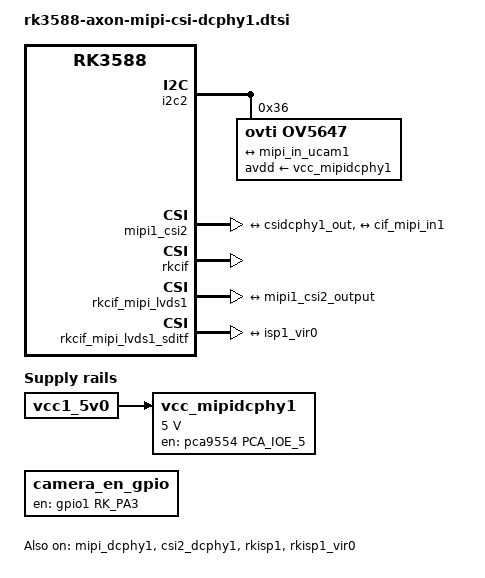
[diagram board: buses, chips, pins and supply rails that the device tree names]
// SPDX-License-Identifier: (GPL-2.0+ OR MIT)
/*
 * Copyright (C) 2023 Vicharak India
 */

/ {
	compatible = "vicharak,rk3588-axon", "rockchip,rk3588";

	vcc_mipidcphy1: vcc-mipi-dcphy1 {
		compatible = "regulator-fixed";
		regulator-name = "vcc_mipidcphy1";
		regulator-min-microvolt = <5000000>;
		regulator-max-microvolt = <5000000>;
		gpio = <&pca9554 PCA_IOE_5 GPIO_ACTIVE_HIGH>;
		regulator-always-on;
		regulator-boot-on;
		enable-active-high;
		vin-supply = <&vcc1_5v0>;
	};

	camera_en_gpio: camera-en-gpio {
		status = "okay";
		compatible = "regulator-fixed";
		regulator-name = "camera_en_gpio";
		regulator-always-on;
		regulator-boot-on;
		enable-active-high;
		gpio = <&gpio1 RK_PA3 GPIO_ACTIVE_HIGH>;
		pinctrl-names = "default";
		pinctrl-0 = <&cam_en_gpio>;
	};
};

&i2c2 {
	status = "okay";

	ov5647: ov5647@36 {
		status = "okay";
		compatible = "ovti,ov5647";
		reg = <0x36>;

		clocks = <&cru CLK_MIPI_CAMARAOUT_M1>;
		clock-names = "xvclk";
		pinctrl-names = "default";
		pinctrl-0 = <&mipim0_camera1_clk>;
		power-domains = <&power RK3588_PD_VI>;
		avdd-supply = <&vcc_mipidcphy1>;

		rockchip,camera-module-index = <1>;
		rockchip,camera-module-facing = "front";
		rockchip,camera-module-name = "ov5647";
		rockchip,camera-module-lens-name = "default";

		port {
			ov5647_out1: endpoint {
				remote-endpoint = <&mipi_in_ucam1>;
				data-lanes = <1 2>;
			};
		};
	};
};

// MIPI CSI: {{{
&mipi_dcphy1 {
	status = "okay";
};

&csi2_dcphy1 {
	status = "okay";

	ports {
		#address-cells = <1>;
		#size-cells = <0>;

		port@0 {
			reg = <0>;
			#address-cells = <1>;
			#size-cells = <0>;

			mipi_in_ucam1: endpoint@1 {
				reg = <1>;
				remote-endpoint = <&ov5647_out1>;
				data-lanes = <1 2>;
			};
		};

		port@1 {
			reg = <1>;
			#address-cells = <1>;
			#size-cells = <0>;

			csidcphy1_out: endpoint@0 {
				reg = <0>;
				remote-endpoint = <&mipi1_csi2_input>;
			};
		};
	};
};

&mipi1_csi2 {
	status = "okay";

	ports {
		#address-cells = <1>;
		#size-cells = <0>;

		port@0 {
			reg = <0>;
			#address-cells = <1>;
			#size-cells = <0>;

			mipi1_csi2_input: endpoint@1 {
				reg = <1>;
				remote-endpoint = <&csidcphy1_out>;
			};
		};

		port@1 {
			reg = <1>;
			#address-cells = <1>;
			#size-cells = <0>;

			mipi1_csi2_output: endpoint@0 {
				reg = <0>;
				remote-endpoint = <&cif_mipi_in1>;
			};
		};
	};
};

&rkcif {
	status = "okay";
};

&rkcif_mipi_lvds1 {
	status = "okay";

	port {
		cif_mipi_in1: endpoint {
			remote-endpoint = <&mipi1_csi2_output>;
		};
	};
};

&rkcif_mipi_lvds1_sditf {
	status = "okay";

	port {
		mipi1_lvds_sditf: endpoint {
			remote-endpoint = <&isp1_vir0>;
		};
	};
};

&rkcif_mmu {
	status = "okay";
};
// }}}

// ISP: {{{
&rkisp1 {
	status = "okay";
};

&isp1_mmu {
	status = "okay";
};

&rkisp1_vir0 {
	status = "okay";

	port {
		#address-cells = <1>;
		#size-cells = <0>;

		isp1_vir0: endpoint@0 {
			reg = <0>;
			remote-endpoint = <&mipi1_lvds_sditf>;
		};
	};
};
// }}}

&pinctrl {
	camera {
		cam_en_gpio: cam-en-gpio {
			rockchip,pins = <1 RK_PA3 RK_FUNC_GPIO &pcfg_pull_none>;
		};
	};
};
